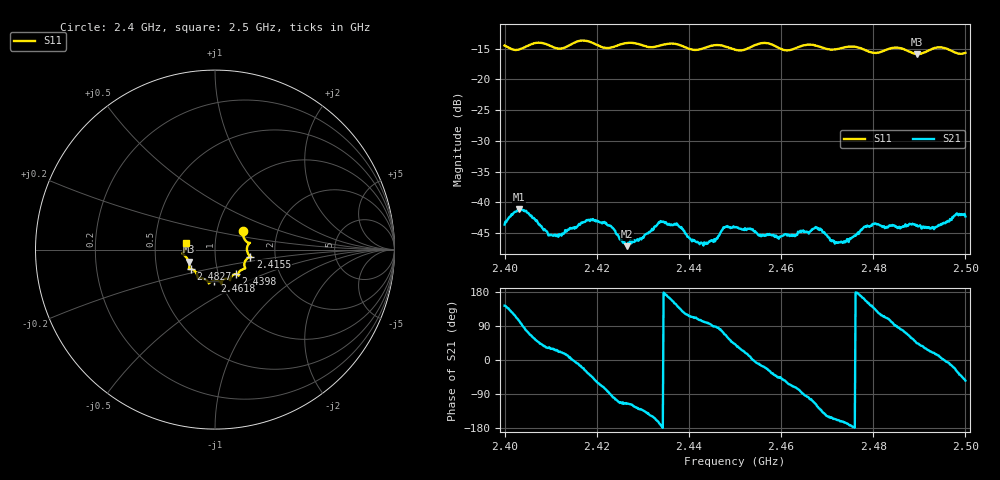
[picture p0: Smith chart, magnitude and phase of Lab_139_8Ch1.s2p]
# Hz S RI R 50
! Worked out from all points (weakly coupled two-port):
!   601 points, 2.4 GHz to 2.5 GHz, reference 50 ohm
!   highest |S21| = -41.11 dB at 2.4032 GHz (marker M1); lowest = -47.1 dB at 2.4265 GHz (marker M2)
!   lowest |S11| = -15.9 dB at 2.4895 GHz (marker M3), VSWR 1.38, Z = 37 - j5.04 ohm
!   |S11| at or under -10 dB: start of sweep to end of sweep
!   S12 and S22 are empty: the file has one direction only
!   S11 on the Smith chart (normalised r, x): 2.4 GHz: 1.33, +0.29; 2.4155 GHz: 1.49, -0.12; 2.4398 GHz: 1.21, -0.34; 2.4618 GHz: 0.94, -0.33; 2.4827 GHz: 0.75, -0.17; 2.5 GHz: 0.72, +0.06
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2.4e9  0.1556 0.1061  -0.00529 0.00393  0 0  0 0
2.403167e9  0.166 0.0559  -0.002 0.00857  0 0  0 0
2.41e9  0.1849 0.0271  0.00476 0.00266  0 0  0 0
2.4155e9  0.1976 -0.0392  0.00615 -0.000693  0 0  0 0
2.416667e9  0.2024 -0.0426  0.0065 -0.00217  0 0  0 0
2.421833e9  0.1693 -0.0621  0.0016 -0.00656  0 0  0 0
2.4265e9  0.1686 -0.103  -0.0019 -0.00397  0 0  0 0
2.433333e9  0.1295 -0.1344  -0.00643 -0.00203  0 0  0 0
2.437333e9  0.1308 -0.1426  -0.0055 0.0039  0 0  0 0
2.439833e9  0.1152 -0.136  -0.00248 0.00463  0 0  0 0
2.4435e9  0.0862 -0.1593  -0.00077 0.00462  0 0  0 0
2.45e9  0.0651 -0.1618  0.00465 0.00419  0 0  0 0
2.456333e9  0.0391 -0.194  0.00506 -0.0017  0 0  0 0
2.461833e9  -0.00333 -0.1728  0.00231 -0.00479  0 0  0 0
2.466667e9  -0.0349 -0.188  -0.00166 -0.00579  0 0  0 0
2.472167e9  -0.0721 -0.1606  -0.00439 -0.00172  0 0  0 0
2.478333e9  -0.1 -0.1405  -0.00586 0.00254  0 0  0 0
2.482667e9  -0.1345 -0.1087  -0.00235 0.00577  0 0  0 0
2.483333e9  -0.1396 -0.1085  -0.00202 0.00603  0 0  0 0
2.4895e9  -0.1461 -0.0665  0.0047 0.00454  0 0  0 0
2.494333e9  -0.181 -0.0217  0.00639 0.00108  0 0  0 0
2.5e9  -0.1596 0.0391  0.00447 -0.00626  0 0  0 0
